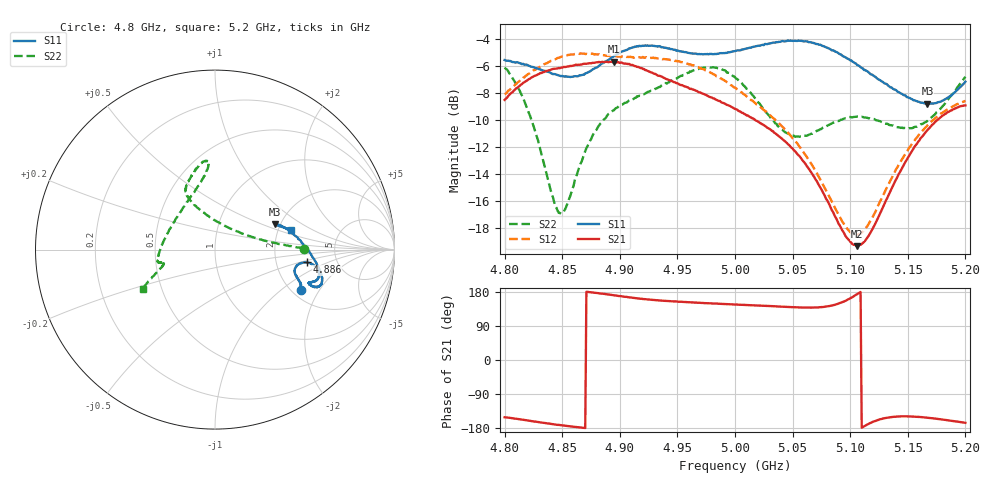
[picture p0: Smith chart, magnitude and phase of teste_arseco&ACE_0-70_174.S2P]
! Network Analyzer HP8722D
! Hewlett-Packard
! Data name: Linha & Wilkinson
! Saver's name: Rodrigo Anjos
! Comments: Teste da utilização de aquisição
! continua pelo VNA HP8722D
! Time and date: 8/5/2025 14:12
!  Frequency  S11  S21  S12  S22
# HZ  S  MA R 50
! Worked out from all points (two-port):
!   401 points, 4.8 GHz to 5.2 GHz, reference 50 ohm
!   highest |S21| = -5.66 dB at 4.895 GHz (marker M1); lowest = -19.3 dB at 5.106 GHz (marker M2)
!   |S21| within 3 dB of the highest: start of sweep to 4.988 GHz
!   lowest |S11| = -8.8 dB at 5.167 GHz (marker M3), VSWR 2.15, Z = 94.1 + j30.6 ohm
!   |S11| at or under -10 dB: nowhere
!   |S22| runs from -16.9 to -6.1 dB; largest |S21 - S12| = 1.1
!   S11 on the Smith chart (normalised r, x): 4.8 GHz: 2.24, -1.39; 4.886 GHz: 3.01, -0.58; 5.2 GHz: 2.35, +0.65
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4.8e9  0.5285 -25.1  0.3761 -151.1  0.3946 8.4  0.4952 0.7
4.82e9  0.506 -20.7  0.446 -159.4  0.4675 5.4  0.347 5.8
4.842e9  0.4686 -17.3  0.4899 -169.5  0.5275 1.9  0.1638 37.5
4.847e9  0.4637 -16.3  0.4939 -171.2  0.5388 1.1  0.1438 55.8
4.853e9  0.4601 -14.9  0.498 -173.5  0.5491 -0.1  0.1496 79.4
4.867e9  0.4648 -10.6  0.5087 -178.4  0.5585 -2.0  0.2233 108.6
4.886e9  0.516 -7.9  0.5192 174.6  0.5507 -3.2  0.3178 116.9
4.895e9  0.5472 -8.4  0.5214 170.8  0.5438 -3.0  0.3448 117.3
4.913e9  0.5921 -11.8  0.5018 163.5  0.5414 -2.5  0.3825 115.0
4.934e9  0.5948 -16.5  0.4619 157.1  0.5368 -3.3  0.4197 109.3
4.973e9  0.5547 -19.5  0.3954 150.2  0.4885 -6.8  0.4951 97.1
5e9  0.5698 -20.5  0.3485 146.1  0.418 -6.7  0.4564 94.9
5.044e9  0.6198 -18.6  0.2632 140.3  0.2903 1.5  0.2848 132.1
5.067e9  0.612 -13.9  0.2002 138.4  0.2158 8.7  0.2819 165.1
5.095e9  0.5428 -4.2  0.1203 154.8  0.13 35.0  0.3208 -172.6
5.106e9  0.5067 1.2  0.1083 173.9  0.1193 56.2  0.3266 -168.9
5.116e9  0.4756 6.4  0.1183 -168.7  0.1307 75.5  0.3214 -167.3
5.134e9  0.4217 15.1  0.1698 -151.2  0.1862 94.3  0.3038 -166.3
5.152e9  0.3821 21.2  0.2374 -148.9  0.2526 99.7  0.2955 -164.7
5.167e9  0.3641 22.8  0.2908 -152.2  0.3027 100.4  0.3145 -161.7
5.183e9  0.3796 20.4  0.3346 -158.4  0.3441 100.3  0.3681 -157.0
5.2e9  0.4396 14.6  0.359 -165.8  0.3736 100.8  0.4586 -151.6
